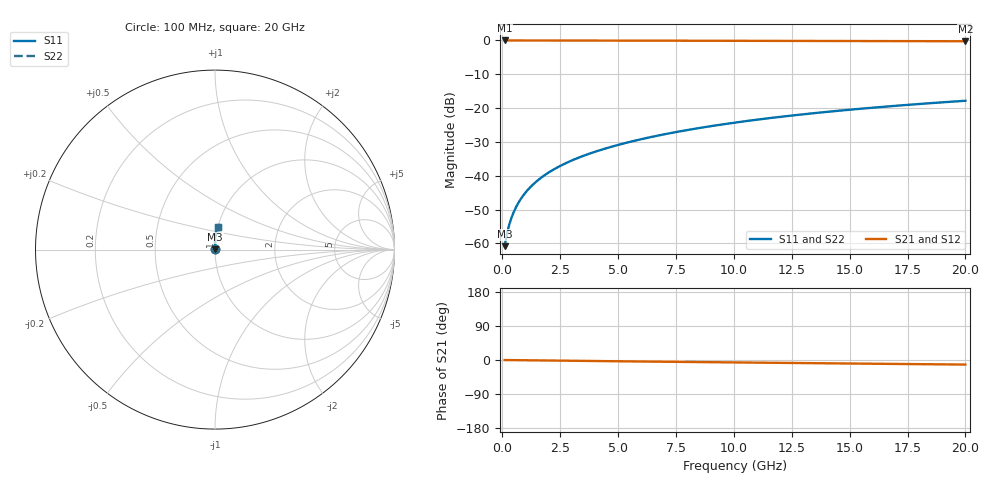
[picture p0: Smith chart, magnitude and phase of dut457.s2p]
! Touchstone file exported from HFSS 2024.1.0
!  File:  C:/UserFiles/LocalFiles/RDL_TSV_Batchsim/temp_RDL_bottom_457_1779685318.aedt
!  Generated:  01:04:26 PM May 25, 2026
!  Design:  RDL_bottom
!  Project:  temp_RDL_bottom_457_1779685318
!  Setup:  Setup1
!  Solution:  Sweep
! Variables:
!  dtsv = 10.80580581um
!  hbump = 3um
!  htsv = 91.61um
!  ldown = 151.08um
!  lrdl = 100um
!  p = 40
!  p1 = 47.13um
!  rhole = 1um
!  t = 450um
!  tdown = 4.68um
!  trdl = 3.915915916um
!  wdown = 22.6um
!  wrdl = 20um
# GHz S MA R 50.000000
! Terminal data exported
! Port[1] = RDL1_T1
! Port[2] = RDL1_T2
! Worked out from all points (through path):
!   200 points, 100 MHz to 20 GHz, reference 50 ohm
!   highest |S21| = -0.01 dB at 100 MHz (marker M1); lowest = -0.2 dB at 20 GHz (marker M2)
!   group delay of S21, straight-line fit = 1.66 ps
!   lowest |S11| = -60.8 dB at 100 MHz (marker M3), VSWR 1.00, Z = 50.1 + j0.0609 ohm
!   |S11| at or under -10 dB: start of sweep to end of sweep
!   |S22| runs from -60.8 to -17.8 dB; largest |S21 - S12| = 3.1e-15
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0.1  0.0009078 42.0  0.9993 -0.1  0.9993 -0.1  0.0009078 42.0
! Gamma 0 0 0 0
! Port Impedance 50 0 50 0
0.2  0.001383 58.9  0.9993 -0.1  0.9993 -0.1  0.001383 58.9
0.3  0.001891 66.8  0.9992 -0.2  0.9992 -0.2  0.001891 66.8
0.4  0.002409 71.5  0.9992 -0.3  0.9992 -0.3  0.002409 71.5
0.5  0.002933 74.7  0.9991 -0.4  0.9991 -0.4  0.002933 74.7
0.6  0.003463 77.0  0.9991 -0.4  0.9991 -0.4  0.003463 77.0
0.8  0.004535 80.2  0.999 -0.6  0.999 -0.6  0.004535 80.2
1.1  0.006165 83.0  0.9989 -0.8  0.9989 -0.8  0.006165 83.0
1.5  0.008363 85.1  0.9987 -1.0  0.9987 -1.0  0.008363 85.1
1.8  0.01002 86.2  0.9984 -1.3  0.9984 -1.3  0.01002 86.2
2.1  0.0117 87.0  0.9982 -1.5  0.9982 -1.5  0.0117 87.0
2.7  0.01507 88.1  0.9976 -1.9  0.9976 -1.9  0.01507 88.1
3.5  0.01965 89.1  0.9967 -2.4  0.9967 -2.4  0.01965 89.1
4.2  0.02374 89.7  0.9958 -2.9  0.9958 -2.9  0.02374 89.7
5  0.02852 90.1  0.9946 -3.4  0.9946 -3.4  0.02852 90.1
5.9  0.03403 90.4  0.9932 -3.9  0.9932 -3.9  0.03403 90.4
6.8  0.03968 90.5  0.9918 -4.5  0.9918 -4.5  0.03968 90.5
8.4  0.05002 90.2  0.9893 -5.5  0.9893 -5.5  0.05002 90.2
10.1  0.0613 89.6  0.9867 -6.5  0.9867 -6.5  0.0613 89.6
13.4  0.08365 87.7  0.9818 -8.4  0.9818 -8.4  0.08364 87.7
16.7  0.1061 85.5  0.9773 -10.2  0.9773 -10.2  0.1061 85.5
20  0.1283 83.2  0.9728 -12.1  0.9728 -12.1  0.1283 83.2
